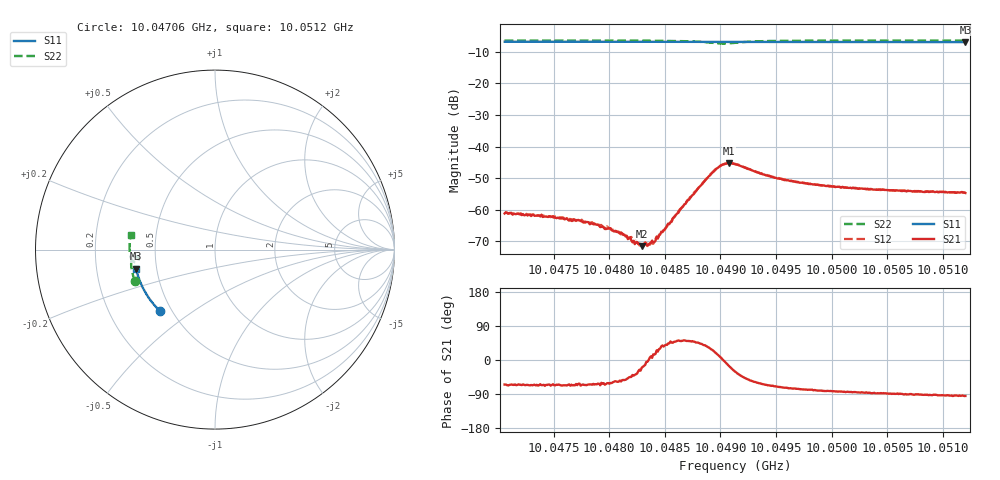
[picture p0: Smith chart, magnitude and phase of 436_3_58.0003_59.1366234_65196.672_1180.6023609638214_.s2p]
#  HZ  S  RI  R  50.00
! Rohde & Schwarz Vector Network Analyzer
! Rohde-Schwarz,ZNB20-2Port,1311601062101988,3.16
! Created: UTC 3/21/2024, 1:09:52 AM
! freq[Hz]  re:S11  im:S11  re:S21  im:S21  re:S12  im:S12  re:S22  im:S22
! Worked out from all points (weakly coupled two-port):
!   401 points, 10.04706 GHz to 10.0512 GHz, reference 50 ohm
!   highest |S21| = -45.25 dB at 10.04908 GHz (marker M1); lowest = -71.5 dB at 10.04829 GHz (marker M2)
!   lowest |S11| = -6.9 dB at 10.0512 GHz (marker M3), VSWR 2.65, Z = 19.1 - j5.08 ohm
!   |S11| at or under -10 dB: nowhere
!   |S22| runs from -7.4 to -6.4 dB; largest |S21 - S12| = 0.00039
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1.004706e10  -0.3091 -0.3399  0.000371 -0.000787  0.000475 -0.00079  -0.446 -0.1765
1.0047474e10  -0.3281 -0.3203  0.000296 -0.000722  0.000355 -0.000676  -0.4549 -0.1496
1.0047754e10  -0.3403 -0.3064  0.000272 -0.000599  0.000336 -0.000609  -0.4601 -0.1309
1.0047909e10  -0.3468 -0.2984  0.000257 -0.000497  0.000294 -0.000495  -0.4623 -0.12
1.0048095e10  -0.3544 -0.2887  0.000245 -0.000341  0.00028 -0.000326  -0.4648 -0.1066
1.004822e10  -0.3593 -0.2824  0.000242 -0.000211  0.000276 -0.000182  -0.4661 -0.0973
1.0048261e10  -0.361 -0.28  0.000251 -0.000143  0.000261 -0.000124  -0.4665 -0.0942
1.0048292e10  -0.3621 -0.2785  0.000248 -9.24e-05  0.000288 -9.92e-05  -0.4667 -0.0918
1.0048354e10  -0.3646 -0.2751  0.00028 -1.18e-06  0.000305 1.02e-05  -0.4671 -0.0868
1.0048385e10  -0.3657 -0.2735  0.000322 3.15e-05  0.000281 8.31e-05  -0.4671 -0.0843
1.0048416e10  -0.3667 -0.2718  0.00031 9.11e-05  0.000324 0.000129  -0.4672 -0.0818
1.0048448e10  -0.368 -0.2701  0.000342 0.000187  0.000331 0.000222  -0.4673 -0.0792
1.0048499e10  -0.37 -0.2672  0.000381 0.000303  0.000354 0.000333  -0.4671 -0.0747
1.0048717e10  -0.3778 -0.2554  0.000922 0.0011  0.000875 0.00118  -0.4623 -0.0535
1.0048913e10  -0.3843 -0.2443  0.00319 0.00176  0.0031 0.00198  -0.4411 -0.0375
1.0049007e10  -0.3873 -0.2389  0.005 0.0005  0.00501 0.000794  -0.426 -0.0466
1.0049079e10  -0.3896 -0.235  0.00524 -0.00155  0.00536 -0.00119  -0.4269 -0.0619
1.0049131e10  -0.3912 -0.2322  0.00455 -0.00268  0.00476 -0.00238  -0.4351 -0.0683
1.0049493e10  -0.4026 -0.2114  0.00113 -0.00302  0.00129 -0.00297  -0.4701 -0.0432
1.0049825e10  -0.4118 -0.1914  0.000506 -0.00248  0.000649 -0.00247  -0.4752 -0.0156
1.0050519e10  -0.4279 -0.149  4.28e-05 -0.00204  0.000156 -0.00204  -0.4751 0.0345
1.0051202e10  -0.4395 -0.1058  -0.000156 -0.00183  -3.37e-05 -0.00187  -0.4694 0.0804
